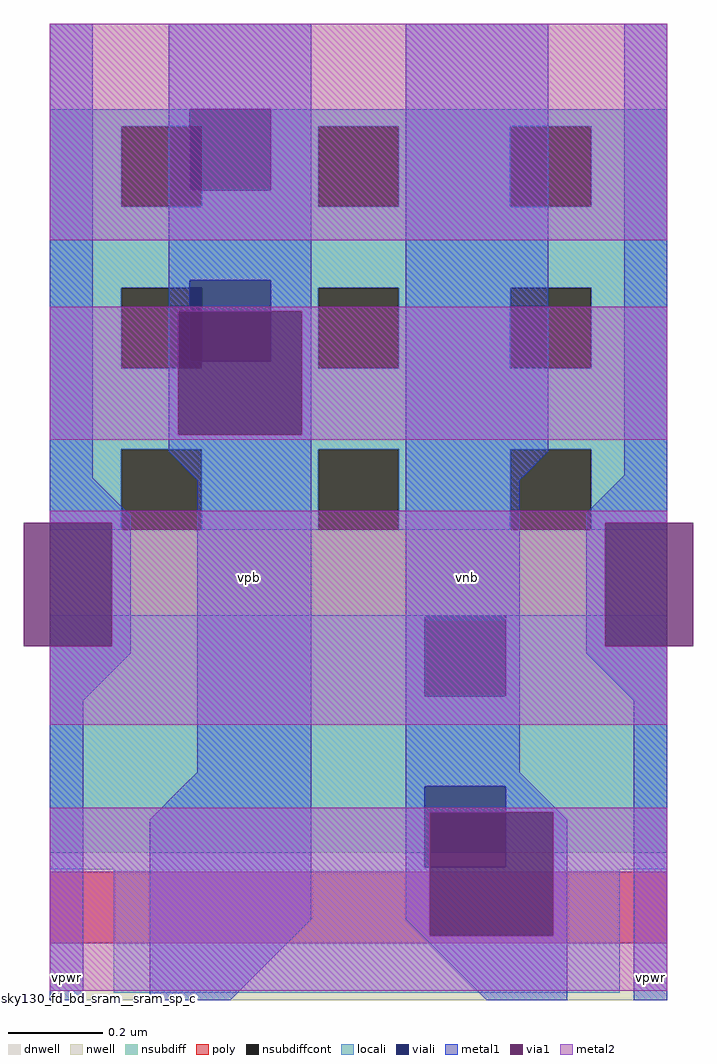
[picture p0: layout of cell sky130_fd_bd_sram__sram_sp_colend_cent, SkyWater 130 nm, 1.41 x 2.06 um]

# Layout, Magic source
magic
tech sky130A
magscale 1 2
<< metal1 >>
rect 62 160 106 196
rect 154 160 198 196
rect 0 0 14 19
rect 246 0 260 19
use sky130_fd_bd_sram__sram_sp_colend_cent_ce  sky130_fd_bd_sram__sram_sp_colend_cent_ce_0
transform 1 0 0 0 1 0
box 0 0 260 411
use sky130_fd_bd_sram__sram_sp_colend_cent_m2  sky130_fd_bd_sram__sram_sp_colend_cent_m2_0
transform 1 0 0 0 1 0
box -11 4 271 411
use sky130_fd_bd_sram__sram_sp_colend_cent_p1m_siz  sky130_fd_bd_sram__sram_sp_colend_cent_p1m_siz_0
transform 1 0 0 0 1 0
box 0 0 1 1
<< labels >>
flabel metal1 s 246 0 260 19 0 FreeSans 40 90 0 0 vpwr
port 2 nsew
flabel metal1 s 62 160 106 196 0 FreeSans 200 0 0 0 vpb
port 1 nsew
flabel metal1 s 154 160 198 196 0 FreeSans 200 0 0 0 vnb
port 0 nsew
flabel metal1 s 0 0 14 19 0 FreeSans 40 90 0 0 vpwr
port 2 nsew
<< properties >>
string GDS_FILE sky130_fd_bd_sram__sram_sp_colend_cent.gds
string GDS_END 3562
string GDS_START 2756
<< end >>

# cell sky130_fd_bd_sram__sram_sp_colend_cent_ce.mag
magic
tech sky130A
magscale 1 2
<< dnwell >>
rect 0 0 260 411
<< nwell >>
rect 0 0 260 411
<< nsubdiff >>
rect 0 368 260 375
rect 0 334 30 368
rect 64 334 113 368
rect 147 334 194 368
rect 228 334 260 368
rect 0 300 260 334
rect 0 266 30 300
rect 64 266 113 300
rect 147 266 194 300
rect 228 266 260 300
rect 0 232 260 266
rect 0 198 30 232
rect 64 198 113 232
rect 147 198 194 232
rect 228 198 260 232
rect 0 62 260 198
<< nsubdiffcont >>
rect 30 334 64 368
rect 113 334 147 368
rect 194 334 228 368
rect 30 266 64 300
rect 113 266 147 300
rect 194 266 228 300
rect 30 198 64 232
rect 113 198 147 232
rect 194 198 228 232
<< poly >>
rect 0 24 260 54
<< locali >>
rect 0 368 59 375
rect 93 368 260 375
rect 0 334 30 368
rect 93 341 113 368
rect 64 334 113 341
rect 147 334 194 368
rect 228 334 260 368
rect 0 303 260 334
rect 0 300 59 303
rect 93 300 260 303
rect 0 266 30 300
rect 93 269 113 300
rect 64 266 113 269
rect 147 266 194 300
rect 228 266 260 300
rect 0 232 260 266
rect 0 198 30 232
rect 64 198 113 232
rect 147 198 194 232
rect 228 198 260 232
rect 0 128 158 162
rect 192 128 260 162
rect 0 90 260 128
rect 0 56 158 90
rect 192 56 260 90
rect 0 55 260 56
rect 27 3 240 55
<< viali >>
rect 59 368 93 375
rect 59 341 64 368
rect 64 341 93 368
rect 59 300 93 303
rect 59 269 64 300
rect 64 269 93 300
rect 158 128 192 162
rect 158 56 192 90
<< metal1 >>
rect 0 219 18 411
rect 50 375 110 411
rect 50 341 59 375
rect 93 341 110 375
rect 50 303 110 341
rect 50 269 59 303
rect 93 269 110 303
rect 50 231 110 269
tri 50 220 61 231 ne
rect 61 220 110 231
tri 18 219 19 220 sw
tri 61 219 62 220 ne
rect 0 204 19 219
tri 19 204 34 219 sw
rect 0 146 34 204
rect 0 128 16 146
tri 16 128 34 146 nw
rect 0 0 14 128
tri 14 126 16 128 nw
tri 56 90 62 96 se
rect 62 90 110 220
tri 42 76 56 90 se
rect 56 76 110 90
rect 42 34 110 76
rect 42 0 76 34
tri 76 0 110 34 nw
rect 150 231 210 411
rect 150 221 200 231
tri 200 221 210 231 nw
rect 150 162 198 221
tri 198 219 200 221 nw
tri 240 219 242 221 se
rect 242 219 260 411
rect 150 128 158 162
rect 192 128 198 162
rect 150 90 198 128
tri 226 205 240 219 se
rect 240 205 260 219
rect 226 146 260 205
tri 226 126 246 146 ne
rect 150 56 158 90
rect 192 76 198 90
tri 198 76 218 96 sw
rect 192 56 218 76
rect 150 34 218 56
tri 150 0 184 34 ne
rect 184 0 218 34
rect 246 0 260 146
<< properties >>
string GDS_FILE sky130_fd_bd_sram__sram_sp_colend_cent_ce.gds
string GDS_END 1954
string GDS_START 174
<< end >>

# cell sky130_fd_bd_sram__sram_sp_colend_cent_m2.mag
magic
tech sky130A
magscale 1 2
<< via1 >>
rect 54 238 106 290
rect -11 149 26 201
rect 234 149 271 201
rect 160 27 212 79
<< metal2 >>
rect 0 320 260 411
rect 0 290 260 292
rect 0 238 54 290
rect 106 238 260 290
rect 0 236 260 238
rect 0 201 260 206
rect 26 149 234 201
rect 0 116 260 149
rect 0 79 260 81
rect 0 27 160 79
rect 212 27 260 79
rect 0 4 260 27
<< properties >>
string GDS_FILE sky130_fd_bd_sram__sram_sp_colend_cent_m2.gds
string GDS_END 690
string GDS_START 174
<< end >>
